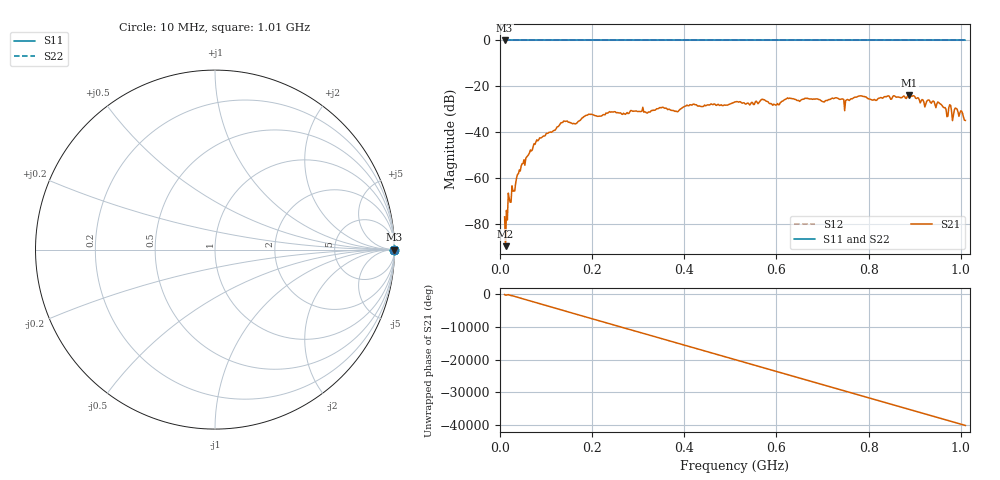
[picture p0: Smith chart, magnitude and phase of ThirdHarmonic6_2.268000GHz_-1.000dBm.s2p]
! 8/17/2025 2:51:06 AM
! C:\ANRITSUVNA\TEMP\TEMP.S2P
! CHANNEL.1
! TR.MEASUREMENT
! RAW.DATA
! RF.CORRECTION.OFF
! AVERAGING.OFF
! IF.BANDWIDTH: 5KHZ
! SWEEPTYPE:  FREQ.SWEEP(Linear)
! Reference Plane Port Info
! PORT:  PORT1  PORT2
! DISTANCE:  0  m  0  m
! TIME:  0  s  0  s
! PHASE.OFFSET:  0  deg.  0  deg.
! LOSS:  0  dB  0  dB
! REF.LOSS:  0  dB  0  dB
! REF.FREQ:  0  Hz  0  Hz
! Power Info
! POWER:  -20  dBm  -20  dBm
! EFF.POWER:  -20  dBm  -20  dBm
! SOURCE.ATTEN:  0  dB  0  dB
! TEST.ATTEN:  0  dB  0  dB
# GHZ S RI R 50.0
! FREQ.GHZ  S11RE  S11IM  S21RE  S21IM  S12RE  S12IM  S22RE  S22IM
!; PortSelection: Port_12
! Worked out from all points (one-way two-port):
!   501 points, 10 MHz to 1.01 GHz, reference 50 ohm
!   highest |S21| = -23.86 dB at 888 MHz (marker M1); lowest = -89.7 dB at 12 MHz (marker M2)
!   lowest |S11| = 0.0 dB at 10 MHz (marker M3)
!   |S11| at or under -10 dB: nowhere
!   |S22| runs from 0.0 to 0.0 dB; largest |S21 - S12| = 1.1
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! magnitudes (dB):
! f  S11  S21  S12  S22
! 10 MHz  0.0  -76.9  0.0  0.0
! 12 MHz  0.0  -89.7  0.0  0.0
! 22 MHz  0.0  -70.5  0.0  0.0
! 42 MHz  0.0  -56.5  0.0  0.0
! 76 MHz  0.0  -45.3  0.0  0.0
! 136 MHz  0.0  -35.7  0.0  0.0
! 178 MHz  0.0  -33.8  0.0  0.0
! 344 MHz  0.0  -29.7  0.0  0.0
! 384 MHz  0.0  -31.0  0.0  0.0
! 416 MHz  0.0  -28.2  0.0  0.0
! 510 MHz  0.0  -26.8  0.0  0.0
! 572 MHz  0.0  -25.8  0.0  0.0
! 596 MHz  0.0  -27.9  0.0  0.0
! 626 MHz  0.0  -25.3  0.0  0.0
! 678 MHz  0.0  -25.7  0.0  0.0
! 752 MHz  0.0  -26.0  0.0  0.0
! 844 MHz  0.0  -24.2  0.0  0.0
! 888 MHz  0.0  -23.9  0.0  0.0
! 954 MHz  0.0  -27.4  0.0  0.0
! 968 MHz  0.0  -30.1  0.0  0.0
! 990 MHz  0.0  -29.6  0.0  0.0
! 1.01 GHz  0.0  -34.8  0.0  0.0
